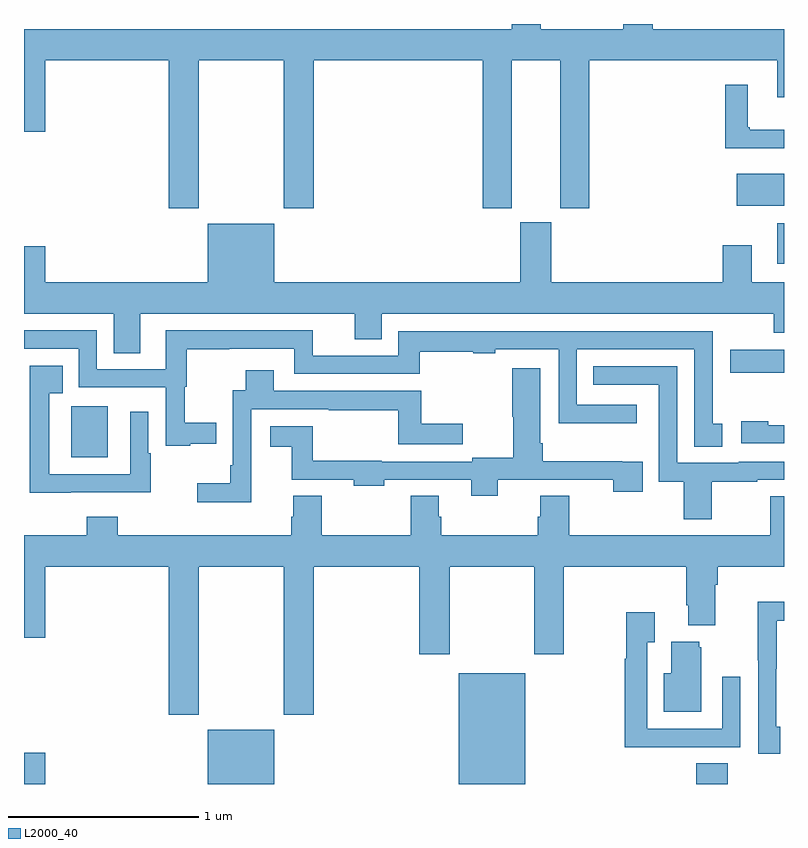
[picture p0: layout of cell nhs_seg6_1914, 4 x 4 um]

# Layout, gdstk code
import gdstk
lib = gdstk.Library(unit=1e-6, precision=1e-09)
def R(c, l, rs):  # rectangles x0, y0, x1, y1
    for r in rs: c.add(gdstk.rectangle(r[:2], r[2:], *l))
def P(c, l, *ps):  # polygons
    for p in ps: c.add(gdstk.Polygon(p, *l))
L2000_40 = (2000, 40)

nhs_seg6_1914 = lib.new_cell('nhs_seg6_1914')
R(nhs_seg6_1914, L2000_40, [(225,971.5,225.112,971.665), (225.968,971.5,226.318,971.785), (227.288,971.5,227.638,972.082), (228.539,971.5,228.704,971.609), (225.248,973.22,225.442,973.488), (228.717,973.664,229,973.786), (228.965,974.238,229,974.451), (228.752,974.543,229,974.713)])
P(nhs_seg6_1914, L2000_40, [(225.921,975.308),(226.366,975.308),(226.366,974.529),(226.526,974.529),(226.526,975.308),(227.414,975.308),(227.414,974.529),(227.566,974.529),(227.566,975.308),(227.822,975.308),(227.822,974.529),(227.975,974.529),(227.975,975.308),(228.965,975.308),(228.965,975.114),(229,975.114),(229,975.472),(228.308,975.472),(228.308,975.5),(228.155,975.5),(228.155,975.472),(227.719,975.472),(227.719,975.5),(227.567,975.5),(227.567,975.472),(225,975.472),(225,974.934),(225.112,974.934),(225.112,975.308),(225.761,975.308),(225.761,974.529),(225.921,974.529)],
  [(229,974.944),(228.82,974.944),(228.82,974.956),(228.808,974.956),(228.808,975.181),(228.691,975.181),(228.691,974.846),(229,974.846)],
  [(225.613,973.976),(226.742,973.976),(226.742,973.84),(226.882,973.84),(226.882,973.976),(228.946,973.976),(228.946,973.874),(229,973.874),(229,974.14),(228.829,974.14),(228.829,974.335),(228.677,974.335),(228.677,974.14),(227.776,974.14),(227.776,974.457),(227.612,974.457),(227.612,974.14),(226.318,974.14),(226.318,974.449),(225.968,974.449),(225.968,974.14),(225.112,974.14),(225.112,974.329),(225,974.329),(225,973.976),(225.473,973.976),(225.473,973.768),(225.613,973.768)],
  [(228.676,973.395),(228.624,973.395),(228.624,973.884),(226.971,973.884),(226.971,973.755),(226.521,973.755),(226.521,973.887),(225.746,973.887),(225.746,973.683),(225.384,973.683),(225.384,973.887),(225,973.887),(225,973.791),(225.288,973.791),(225.288,973.587),(225.747,973.587),(225.747,973.281),(225.875,973.281),(225.875,973.292),(226.012,973.292),(226.012,973.402),(225.846,973.402),(225.846,973.59),(225.856,973.59),(225.856,973.789),(226.079,973.789),(226.079,973.791),(226.422,973.791),(226.422,973.659),(227.083,973.659),(227.083,973.776),(227.364,973.776),(227.364,973.768),(227.48,973.768),(227.48,973.788),(227.814,973.788),(227.814,973.4),(228.226,973.4),(228.226,973.497),(227.91,973.497),(227.91,973.788),(228.528,973.788),(228.528,973.276),(228.676,973.276)],
  [(225.245,973.035),(225.667,973.035),(225.667,973.242),(225.654,973.242),(225.654,973.459),(225.558,973.459),(225.558,973.131),(225.133,973.131),(225.133,973.556),(225.203,973.556),(225.203,973.702),(225.029,973.702),(225.029,973.033),(225.245,973.033)],
  [(228.621,973.09),(228.858,973.09),(228.858,973.101),(229,973.101),(229,973.197),(228.762,973.197),(228.762,973.191),(228.438,973.191),(228.438,973.698),(227.995,973.698),(227.995,973.602),(228.342,973.602),(228.342,973.09),(228.473,973.09),(228.473,972.894),(228.621,972.894)],
  [(227.494,973.101),(228.101,973.101),(228.101,973.038),(228.257,973.038),(228.257,973.197),(228.149,973.197),(228.149,973.199),(227.729,973.199),(227.729,973.294),(227.716,973.294),(227.716,973.687),(227.569,973.687),(227.569,973.434),(227.576,973.434),(227.576,973.217),(227.358,973.217),(227.358,973.197),(226.884,973.197),(226.884,973.202),(226.519,973.202),(226.519,973.384),(226.296,973.384),(226.296,973.274),(226.409,973.274),(226.409,973.101),(226.736,973.101),(226.736,973.07),(226.896,973.07),(226.896,973.101),(227.354,973.101),(227.354,973.016),(227.494,973.016)],
  [(226.196,973.473),(226.603,973.473),(226.603,973.468),(226.971,973.468),(226.971,973.287),(227.308,973.287),(227.308,973.396),(227.092,973.396),(227.092,973.569),(226.315,973.569),(226.315,973.678),(226.168,973.678),(226.168,973.572),(226.098,973.572),(226.098,973.177),(226.086,973.177),(226.086,973.082),(225.912,973.082),(225.912,972.983),(226.196,972.983)],
  [(229,973.389),(228.918,973.389),(228.918,973.408),(228.774,973.408),(228.774,973.293),(229,973.293)],
  [(225.921,972.644),(226.366,972.644),(226.366,971.865),(226.526,971.865),(226.526,972.644),(227.081,972.644),(227.081,972.183),(227.241,972.183),(227.241,972.644),(227.686,972.644),(227.686,972.183),(227.841,972.183),(227.841,972.644),(228.485,972.644),(228.485,972.442),(228.497,972.442),(228.497,972.335),(228.637,972.335),(228.637,972.548),(228.65,972.548),(228.65,972.644),(229,972.644),(229,973.015),(228.928,973.015),(228.928,972.808),(227.87,972.808),(227.87,973.016),(227.717,973.016),(227.717,972.906),(227.705,972.906),(227.705,972.808),(227.195,972.808),(227.195,972.906),(227.182,972.906),(227.182,973.016),(227.035,973.016),(227.035,972.808),(226.566,972.808),(226.566,973.016),(226.418,973.016),(226.418,972.906),(226.406,972.906),(226.406,972.808),(225.494,972.808),(225.494,972.907),(225.329,972.907),(225.329,972.808),(225,972.808),(225,972.27),(225.112,972.27),(225.112,972.644),(225.761,972.644),(225.761,971.865),(225.921,971.865)],
  [(228.979,971.802),(228.96,971.802),(228.96,972.106),(228.961,972.106),(228.961,972.36),(229,972.36),(229,972.458),(228.862,972.458),(228.862,972.151),(228.864,972.151),(228.864,971.658),(228.979,971.658)],
  [(228.455,971.694),(228.771,971.694),(228.771,972.064),(228.675,972.064),(228.675,971.79),(228.279,971.79),(228.279,972.247),(228.319,972.247),(228.319,972.403),(228.171,972.403),(228.171,972.158),(228.163,972.158),(228.163,971.693),(228.455,971.693)],
  [(228.565,972.219),(228.554,972.219),(228.554,972.25),(228.407,972.25),(228.407,972.082),(228.368,972.082),(228.368,971.879),(228.565,971.879)])

lib.write_gds('nhs_seg6_1914.gds')
